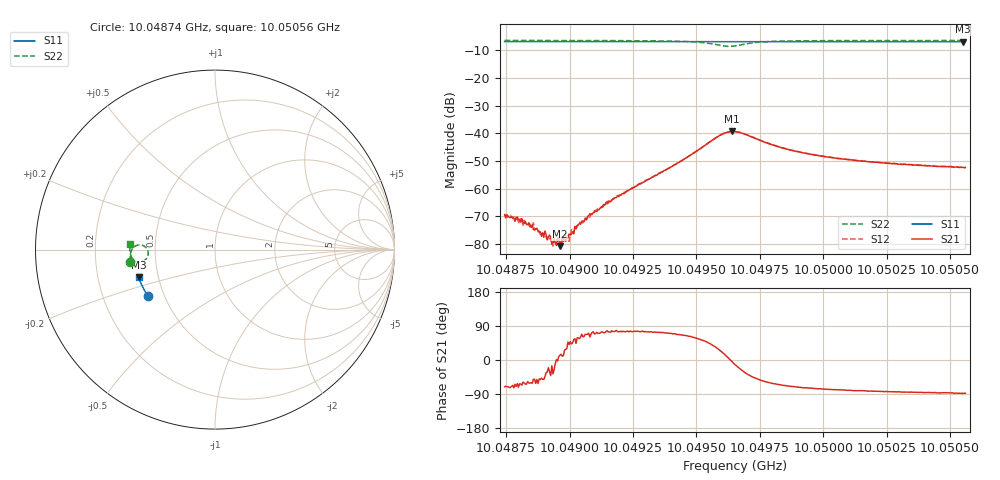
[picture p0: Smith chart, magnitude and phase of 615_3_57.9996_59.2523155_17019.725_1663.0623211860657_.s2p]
#  HZ  S  RI  R  50.00
! Rohde & Schwarz Vector Network Analyzer
! Rohde-Schwarz,ZNB20-2Port,1311601062101988,3.16
! Created: UTC 3/21/2024, 1:17:54 AM
! freq[Hz]  re:S11  im:S11  re:S21  im:S21  re:S12  im:S12  re:S22  im:S22
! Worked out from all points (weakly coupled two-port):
!   401 points, 10.04874 GHz to 10.05056 GHz, reference 50 ohm
!   highest |S21| = -39.34 dB at 10.04964 GHz (marker M1); lowest = -80.8 dB at 10.04896 GHz (marker M2)
!   lowest |S11| = -6.9 dB at 10.05055 GHz (marker M3), VSWR 2.65, Z = 19.3 - j7.45 ohm
!   |S11| at or under -10 dB: nowhere
!   |S22| runs from -8.6 to -6.4 dB; largest |S21 - S12| = 0.0008
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1.0048744e10  -0.3744 -0.2594  0.00011 -0.000317  0.000144 -0.000321  -0.4716 -0.0684
1.0048835e10  -0.3777 -0.2543  0.000122 -0.000187  0.000141 -0.000196  -0.4721 -0.0614
1.0048889e10  -0.3795 -0.2512  9.2e-05 -0.000103  0.000119 -0.000108  -0.4724 -0.0571
1.0048912e10  -0.3803 -0.25  0.000103 -6.45e-05  7.44e-05 -9.16e-05  -0.4725 -0.0554
1.0048939e10  -0.3813 -0.2484  0.000114 -5.42e-05  0.000117 -7.89e-06  -0.4726 -0.0529
1.0048962e10  -0.3821 -0.2472  8.91e-05 2.03e-05  9.34e-05 3.52e-05  -0.4728 -0.051
1.0048971e10  -0.3824 -0.2467  0.000135 2.35e-05  9.91e-05 2.36e-05  -0.4727 -0.0504
1.0048985e10  -0.3828 -0.246  9.86e-05 5.21e-05  0.000131 8.07e-05  -0.4728 -0.0491
1.0049007e10  -0.3837 -0.2447  0.000111 0.000101  0.000123 0.000135  -0.4729 -0.0471
1.004903e10  -0.3843 -0.2433  0.000112 0.000186  7.86e-05 0.000192  -0.4728 -0.0452
1.0049048e10  -0.385 -0.2425  9.62e-05 0.00024  9.92e-05 0.000222  -0.4726 -0.0437
1.0049139e10  -0.3881 -0.2372  0.000155 0.000476  0.000106 0.000509  -0.4724 -0.0349
1.004918e10  -0.3892 -0.2348  0.000168 0.00067  0.000146 0.000684  -0.4722 -0.0308
1.0049352e10  -0.3949 -0.2247  0.000548 0.0018  0.000434 0.00187  -0.4674 -0.00915
1.0049584e10  -0.4011 -0.2109  0.00751 0.00433  0.00724 0.00486  -0.3969 0.0206
1.0049638e10  -0.4022 -0.2079  0.0108 -0.0006  0.0108 0.000177  -0.3723 -0.0273
1.0049652e10  -0.4027 -0.2074  0.0105 -0.00225  0.0107 -0.00148  -0.3768 -0.0421
1.004982e10  -0.408 -0.1978  0.00249 -0.00518  0.00284 -0.00509  -0.459 -0.0495
1.0049956e10  -0.4118 -0.1896  0.00112 -0.00398  0.00133 -0.00397  -0.4707 -0.0268
1.005026e10  -0.4194 -0.1712  0.000316 -0.00283  0.000501 -0.00282  -0.4753 0.00522
1.0050551e10  -0.4256 -0.1532  7.81e-05 -0.00243  0.000246 -0.00241  -0.475 0.0286
1.005056e10  -0.426 -0.1527  9.49e-05 -0.00241  0.000226 -0.0024  -0.475 0.0293
